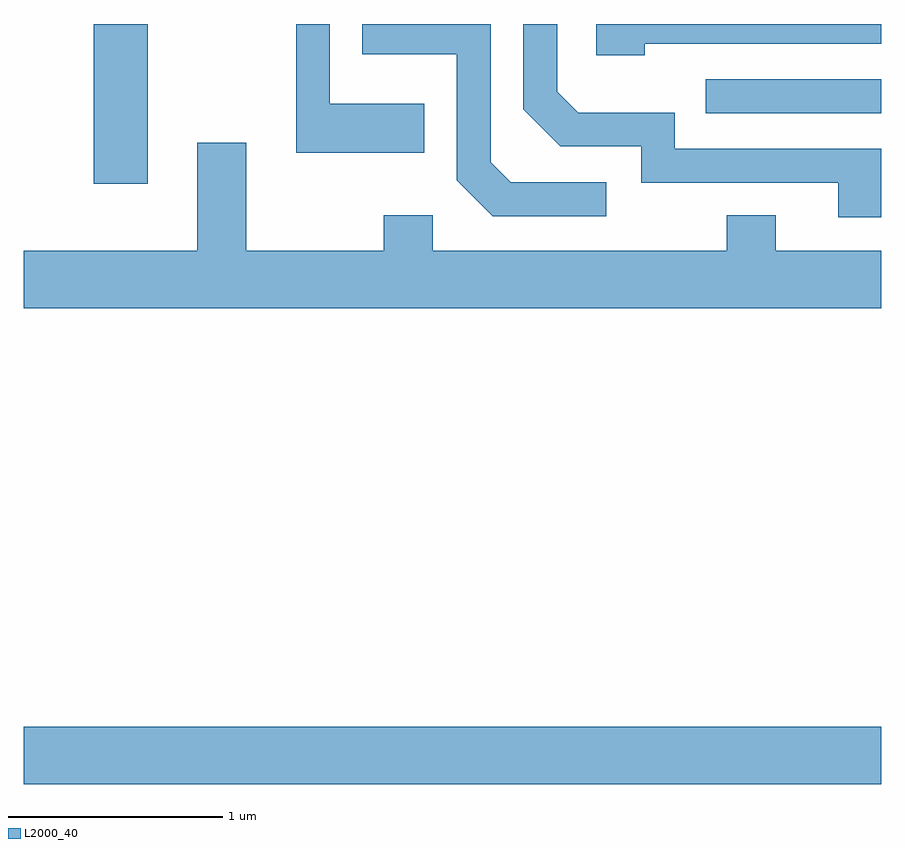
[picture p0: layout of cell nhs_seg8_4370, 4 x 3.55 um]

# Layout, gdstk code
import gdstk
lib = gdstk.Library(unit=1e-6, precision=1e-09)
def R(c, l, rs):  # rectangles x0, y0, x1, y1
    for r in rs: c.add(gdstk.rectangle(r[:2], r[2:], *l))
def P(c, l, *ps):  # polygons
    for p in ps: c.add(gdstk.Polygon(p, *l))
L2000_40 = (2000, 40)

nhs_seg8_4370 = lib.new_cell('nhs_seg8_4370')
R(nhs_seg8_4370, L2000_40, [(315.611,1900.796,319.611,1901.064), (315.936,1903.596,316.189,1904.342), (318.793,1903.926,319.611,1904.084)])
P(nhs_seg8_4370, L2000_40, [(318.509,1904.251),(319.611,1904.251),(319.611,1904.342),(318.281,1904.342),(318.281,1904.196),(318.509,1904.196)],
  [(317.479,1903.969),(317.039,1903.969),(317.039,1904.342),(316.881,1904.342),(316.881,1903.741),(317.479,1903.741)],
  [(318.328,1903.604),(317.882,1903.604),(317.789,1903.697),(317.789,1904.342),(317.191,1904.342),(317.191,1904.201),(317.631,1904.201),(317.631,1903.614),(317.799,1903.446),(318.328,1903.446)],
  [(319.611,1903.759),(318.649,1903.759),(318.649,1903.929),(318.197,1903.929),(318.099,1904.027),(318.099,1904.342),(317.941,1904.342),(317.941,1903.944),(318.114,1903.771),(318.491,1903.771),(318.491,1903.601),(319.411,1903.601),(319.411,1903.441),(319.611,1903.441)],
  [(319.611,1903.284),(319.119,1903.284),(319.119,1903.449),(318.891,1903.449),(318.891,1903.284),(317.519,1903.284),(317.519,1903.449),(317.291,1903.449),(317.291,1903.284),(316.649,1903.284),(316.649,1903.789),(316.421,1903.789),(316.421,1903.284),(315.611,1903.284),(315.611,1903.016),(319.611,1903.016)])

lib.write_gds('nhs_seg8_4370.gds')
